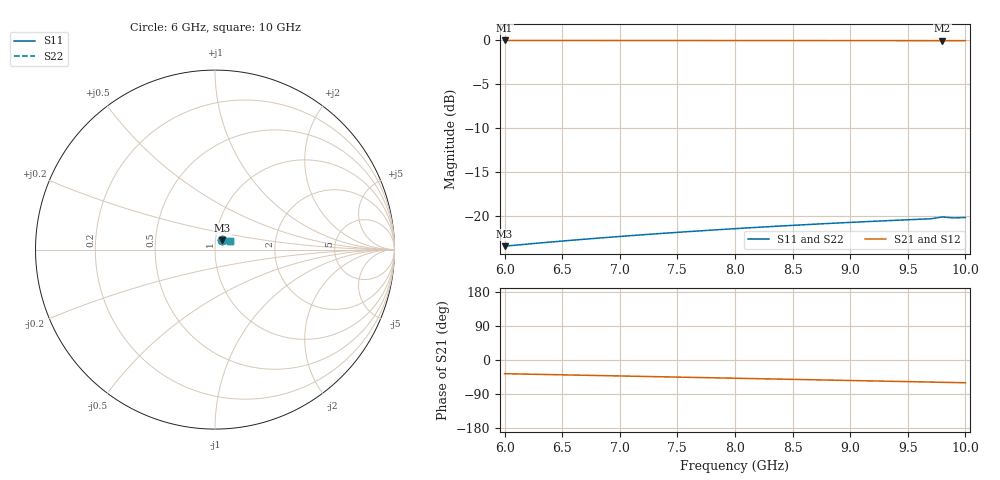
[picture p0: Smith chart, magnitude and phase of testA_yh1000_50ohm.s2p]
! Touchstone file exported from HFSS 2024.2.0
!  File:  C:/Users/artho/Documents/Ansoft/ansys_testA.aedt
!  Generated:  01:04:44 AM Sep  7, 2026
!  Design:  HFSS_V4Y
!  Project:  ansys_testA
!  Setup:  Setup1
!  Solution:  Sweep1
!Data is not renormalized
! Created with skrf 2.1.0 (http://scikit-rf.org).
! Data is not renormalized
! S-parameter uses the power definition
# GHz S RI R
! Port[1] = p1
! Port[2] = p2
!freq ReS11 ImS11 ReS21 ImS21 ReS12 ImS12 ReS22 ImS22
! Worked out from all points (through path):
!   41 points, 6 GHz to 10 GHz, reference per port
!   highest |S21| = -0.02 dB at 6 GHz (marker M1); lowest = 0.0 dB at 9.8 GHz (marker M2)
!   group delay of S21, straight-line fit = 16.6 ps
!   lowest |S11| = -23.4 dB at 6 GHz (marker M3), VSWR 1.14
!   |S11| at or under -10 dB: start of sweep to end of sweep
!   |S22| runs from -23.4 to -20.1 dB; largest |S21 - S12| = 4e-15
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6  0.0417 0.0528  0.8059 -0.5882  0.8059 -0.5882  0.0375 0.0558
! Port Impedance 50.00000000000000 0.00000000000000 50.00000000000000 0.00000000000000
6.1  0.0428 0.0531  0.7997 -0.5965  0.7997 -0.5965  0.0387 0.0562
6.3  0.045 0.0537  0.7869 -0.6131  0.7869 -0.6131  0.0411 0.0568
6.5  0.0473 0.0542  0.7738 -0.6293  0.7738 -0.6293  0.0434 0.0573
6.7  0.0495 0.0546  0.7603 -0.6453  0.7603 -0.6453  0.0458 0.0577
6.8  0.0507 0.0548  0.7535 -0.6532  0.7535 -0.6532  0.047 0.0579
7  0.0529 0.055  0.7396 -0.6687  0.7396 -0.6687  0.0494 0.0582
7.2  0.0552 0.0552  0.7253 -0.684  0.7253 -0.684  0.0519 0.0584
7.4  0.0575 0.0553  0.7108 -0.6989  0.7108 -0.6989  0.0543 0.0584
7.5  0.0587 0.0553  0.7034 -0.7062  0.7034 -0.7062  0.0555 0.0584
7.7  0.0609 0.0552  0.6884 -0.7207  0.6884 -0.7207  0.0579 0.0583
8  0.0644 0.0549  0.6653 -0.7418  0.6653 -0.7418  0.0615 0.058
8.2  0.0666 0.0546  0.6496 -0.7554  0.6496 -0.7554  0.0639 0.0577
8.4  0.0689 0.0542  0.6336 -0.7687  0.6336 -0.7687  0.0663 0.0572
8.7  0.0722 0.0534  0.6091 -0.788  0.6091 -0.788  0.0698 0.0564
8.9  0.0744 0.0527  0.5924 -0.8005  0.5924 -0.8005  0.0721 0.0557
9.1  0.0765 0.052  0.5755 -0.8126  0.5755 -0.8126  0.0744 0.0549
9.4  0.0797 0.0507  0.5497 -0.83  0.5497 -0.83  0.0778 0.0536
9.7  0.0828 0.0492  0.5234 -0.8466  0.5234 -0.8466  0.0811 0.052
9.8  0.0852 0.0496  0.5143 -0.8519  0.5143 -0.8519  0.0836 0.0523
9.9  0.0846 0.0481  0.5056 -0.8573  0.5056 -0.8573  0.0831 0.0508
10  0.0856 0.0475  0.4966 -0.8625  0.4966 -0.8625  0.0841 0.0502
